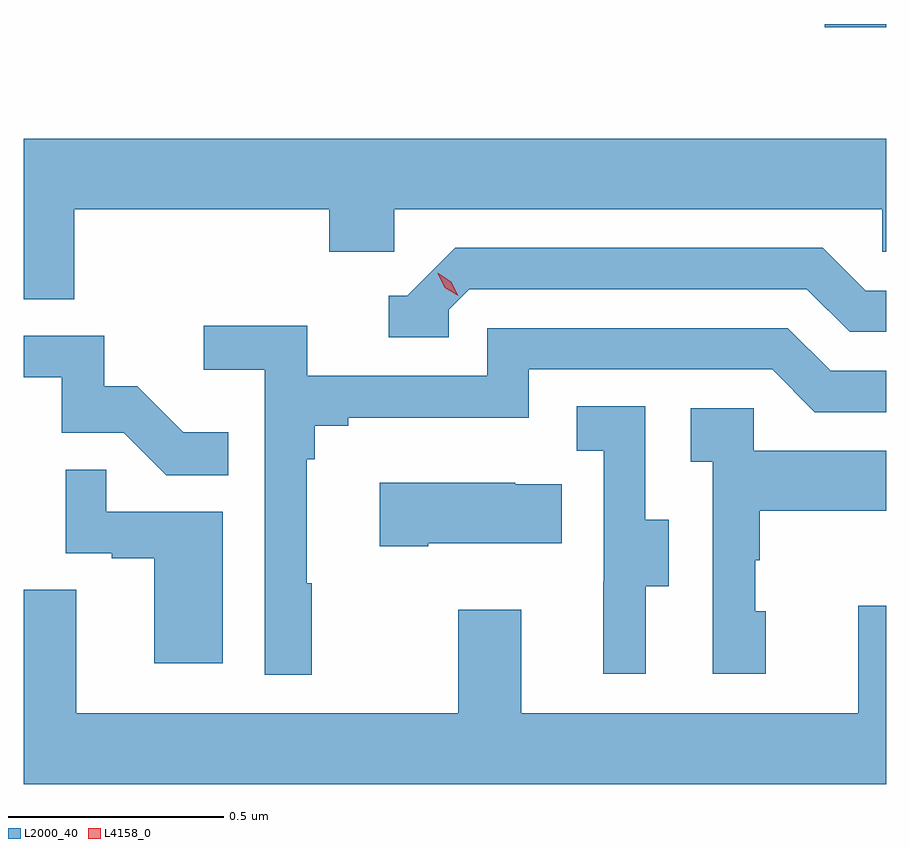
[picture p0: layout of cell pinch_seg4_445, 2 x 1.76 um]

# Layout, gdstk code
import gdstk
lib = gdstk.Library(unit=1e-6, precision=1e-09)
def R(c, l, rs):  # rectangles x0, y0, x1, y1
    for r in rs: c.add(gdstk.rectangle(r[:2], r[2:], *l))
def P(c, l, *ps):  # polygons
    for p in ps: c.add(gdstk.Polygon(p, *l))
L2000_40 = (2000, 40)
L4158_0 = (4158, 0)

pinch_seg4_445 = lib.new_cell('pinch_seg4_445')
R(pinch_seg4_445, L2000_40, [(951.446,789.251,951.589,789.258)])
P(pinch_seg4_445, L2000_40, [(949.706,788.828),(950.297,788.828),(950.297,788.73),(950.448,788.73),(950.448,788.828),(951.579,788.828),(951.579,788.73),(951.589,788.73),(951.589,788.992),(949.589,788.992),(949.589,788.62),(949.706,788.62)],
  [(950.574,788.595),(950.622,788.643),(951.405,788.643),(951.504,788.544),(951.589,788.544),(951.589,788.64),(951.541,788.64),(951.442,788.739),(950.589,788.739),(950.478,788.628),(950.435,788.628),(950.435,788.532),(950.574,788.532)],
  [(950.257,787.961),(950.245,787.961),(950.245,788.249),(950.264,788.249),(950.264,788.326),(950.341,788.326),(950.341,788.345),(950.76,788.345),(950.76,788.457),(951.324,788.457),(951.423,788.358),(951.589,788.358),(951.589,788.454),(951.46,788.454),(951.361,788.553),(950.664,788.553),(950.664,788.442),(950.246,788.442),(950.246,788.558),(950.007,788.558),(950.007,788.456),(950.148,788.456),(950.148,787.749),(950.257,787.749)],
  [(950.063,788.311),(949.959,788.311),(949.852,788.418),(949.776,788.418),(949.776,788.535),(949.589,788.535),(949.589,788.439),(949.677,788.439),(949.677,788.31),(949.821,788.31),(949.919,788.212),(950.063,788.212)],
  [(951.031,787.954),(951.085,787.954),(951.085,788.109),(951.03,788.109),(951.03,788.372),(950.871,788.372),(950.871,788.269),(950.934,788.269),(950.934,787.965),(950.933,787.965),(950.933,787.752),(951.031,787.752)],
  [(951.31,787.896),(951.285,787.896),(951.285,788.015),(951.295,788.015),(951.295,788.129),(951.589,788.129),(951.589,788.269),(951.282,788.269),(951.282,788.367),(951.135,788.367),(951.135,788.243),(951.186,788.243),(951.186,787.752),(951.31,787.752)],
  [(950.05,788.127),(949.781,788.127),(949.781,788.225),(949.686,788.225),(949.686,788.031),(949.793,788.031),(949.793,788.019),(949.892,788.019),(949.892,787.776),(950.05,787.776)],
  [(950.527,788.054),(950.837,788.054),(950.837,788.191),(950.729,788.191),(950.729,788.194),(950.415,788.194),(950.415,788.047),(950.527,788.047)],
  [(951.589,787.909),(951.524,787.909),(951.524,787.66),(950.743,787.66),(950.743,787.9),(950.596,787.9),(950.596,787.66),(949.711,787.66),(949.711,787.946),(949.589,787.946),(949.589,787.496),(951.589,787.496)])
P(pinch_seg4_445, L4158_0, [(950.596,788.628),(950.565,788.647),(950.549,788.679),(950.549,788.68),(950.55,788.68),(950.58,788.66),(950.596,788.628),(950.596,788.628)])

lib.write_gds('pinch_seg4_445.gds')
